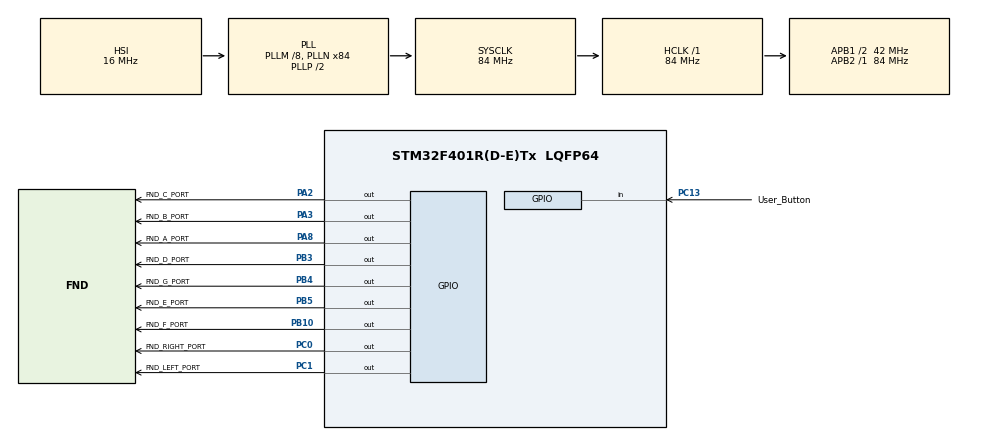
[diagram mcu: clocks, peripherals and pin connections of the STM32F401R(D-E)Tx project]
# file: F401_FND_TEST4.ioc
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Mcu.Family=STM32F4
Mcu.Name=STM32F401R(D-E)Tx
Mcu.Package=LQFP64
NVIC.PriorityGroup=NVIC_PRIORITYGROUP_4
PA13.Mode=Serial_Wire
PA13.Signal=SYS_JTMS-SWDIO
PA14.Mode=Serial_Wire
PA14.Signal=SYS_JTCK-SWCLK
PA2.GPIO_Label=FND_C_PORT
PA2.PinState=GPIO_PIN_SET
PA2.Signal=GPIO_Output
PA3.GPIO_Label=FND_B_PORT
PA3.PinState=GPIO_PIN_SET
PA3.Signal=GPIO_Output
PA8.GPIO_Label=FND_A_PORT
PA8.PinState=GPIO_PIN_SET
PA8.Signal=GPIO_Output
PB10.GPIO_Label=FND_F_PORT
PB10.PinState=GPIO_PIN_SET
PB10.Signal=GPIO_Output
PB3.GPIO_Label=FND_D_PORT
PB3.PinState=GPIO_PIN_SET
PB3.Signal=GPIO_Output
PB4.GPIO_Label=FND_G_PORT
PB4.PinState=GPIO_PIN_SET
PB4.Signal=GPIO_Output
PB5.GPIO_Label=FND_E_PORT
PB5.PinState=GPIO_PIN_SET
PB5.Signal=GPIO_Output
PC0.GPIO_Label=FND_RIGHT_PORT
PC0.Signal=GPIO_Output
PC1.GPIO_Label=FND_LEFT_PORT
PC1.Signal=GPIO_Output
PC13-ANTI_TAMP.GPIO_Label=User_Button
PC13-ANTI_TAMP.Signal=GPIO_Input
ProjectManager.HeapSize=0x200
ProjectManager.StackSize=0x400
ProjectManager.TargetToolchain=STM32CubeIDE
RCC.48MHZClocksFreq_Value=42000000
RCC.AHBFreq_Value=84000000
RCC.APB1CLKDivider=RCC_HCLK_DIV2
RCC.APB1Freq_Value=42000000
RCC.APB1TimFreq_Value=84000000
RCC.APB2Freq_Value=84000000
RCC.APB2TimFreq_Value=84000000
RCC.CortexFreq_Value=84000000
RCC.HCLKFreq_Value=84000000
RCC.HSE_VALUE=25000000
RCC.HSI_VALUE=16000000
RCC.LSE_VALUE=32768
RCC.PLLM=8
RCC.PLLN=84
RCC.SYSCLKFreq_VALUE=84000000
RCC.SYSCLKSource=RCC_SYSCLKSOURCE_PLLCLK
RCC.VCOOutputFreq_Value=168000000
board=custom

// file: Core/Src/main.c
/* USER CODE BEGIN Header */
/**
  ******************************************************************************
  * @file           : main.c
  * @brief          : Main program body
  ******************************************************************************
  * @attention
  *
  * <h2><center>&copy; Copyright (c) 2021 STMicroelectronics.
  * All rights reserved.</center></h2>
  *
  * This software component is licensed by ST under BSD 3-Clause license,
  * the "License"; You may not use this file except in compliance with the
  * License. You may obtain a copy of the License at:
  *                        opensource.org/licenses/BSD-3-Clause
  *
  ******************************************************************************
  */
/* USER CODE END Header */
#include "main.h"

void SystemClock_Config(void);
static void MX_GPIO_Init(void);

/* USER CODE BEGIN 0 */
#define HIGH	1
#define LOW		0
#define PRSEE	0
#define TAKE_IT_OFF		1
#define MAX_COUNT	80
#define MIN_COUNT 	1
#define COUNT		Button_Count

#define	FND_COM_LEFT_SET		HAL_GPIO_WritePin(GPIOC, FND_RIGHT_PORT_Pin, GPIO_PIN_RESET); \
								HAL_GPIO_WritePin(GPIOC, FND_LEFT_PORT_Pin, GPIO_PIN_SET);

#define	FND_COM_RIGHT_SET		HAL_GPIO_WritePin(GPIOC, FND_LEFT_PORT_Pin, GPIO_PIN_RESET); \
								HAL_GPIO_WritePin(GPIOC, FND_RIGHT_PORT_Pin, GPIO_PIN_SET);

#define FND_SEG_NUM0_DISP	  {HAL_GPIO_WritePin(GPIOA, FND_C_PORT_Pin|FND_B_PORT_Pin|FND_A_PORT_Pin, GPIO_PIN_RESET); \
						      HAL_GPIO_WritePin(GPIOB, FND_F_PORT_Pin|FND_D_PORT_Pin|FND_E_PORT_Pin, GPIO_PIN_RESET); \
							  HAL_GPIO_WritePin(GPIOB, FND_G_PORT_Pin, GPIO_PIN_SET);}

#define FND_SEG_NUM1_DISP	  {HAL_GPIO_WritePin(GPIOA, FND_B_PORT_Pin|FND_C_PORT_Pin, GPIO_PIN_RESET); \
							  HAL_GPIO_WritePin(GPIOA, FND_A_PORT_Pin, GPIO_PIN_SET); \
							  HAL_GPIO_WritePin(GPIOB, FND_F_PORT_Pin|FND_D_PORT_Pin|FND_G_PORT_Pin|FND_E_PORT_Pin, GPIO_PIN_SET);}

#define FND_SEG_NUM2_DISP	  {HAL_GPIO_WritePin(GPIOA, FND_B_PORT_Pin|FND_A_PORT_Pin, GPIO_PIN_RESET); \
						      HAL_GPIO_WritePin(GPIOB, FND_D_PORT_Pin|FND_G_PORT_Pin|FND_E_PORT_Pin, GPIO_PIN_RESET); \
						      HAL_GPIO_WritePin(GPIOA, FND_C_PORT_Pin, GPIO_PIN_SET); \
						      HAL_GPIO_WritePin(GPIOB, FND_F_PORT_Pin, GPIO_PIN_SET);}

#define FND_SEG_NUM3_DISP	  {HAL_GPIO_WritePin(GPIOA, FND_C_PORT_Pin|FND_B_PORT_Pin|FND_A_PORT_Pin, GPIO_PIN_RESET); \
						      HAL_GPIO_WritePin(GPIOB, FND_D_PORT_Pin|FND_G_PORT_Pin, GPIO_PIN_RESET); \
						      HAL_GPIO_WritePin(GPIOB, FND_F_PORT_Pin|FND_E_PORT_Pin, GPIO_PIN_SET);}

#define FND_SEG_NUM4_DISP	  {HAL_GPIO_WritePin(GPIOA, FND_C_PORT_Pin|FND_B_PORT_Pin, GPIO_PIN_RESET); \
						      HAL_GPIO_WritePin(GPIOB, FND_F_PORT_Pin|FND_G_PORT_Pin, GPIO_PIN_RESET); \
						      HAL_GPIO_WritePin(GPIOA, FND_A_PORT_Pin, GPIO_PIN_SET); \
						      HAL_GPIO_WritePin(GPIOB, FND_E_PORT_Pin|FND_D_PORT_Pin, GPIO_PIN_SET);}

#define FND_SEG_NUM5_DISP	  {HAL_GPIO_WritePin(GPIOA, FND_C_PORT_Pin|FND_A_PORT_Pin, GPIO_PIN_RESET); \
						      HAL_GPIO_WritePin(GPIOB, FND_F_PORT_Pin|FND_D_PORT_Pin|FND_G_PORT_Pin, GPIO_PIN_RESET); \
						      HAL_GPIO_WritePin(GPIOB, FND_E_PORT_Pin, GPIO_PIN_SET); \
						      HAL_GPIO_WritePin(GPIOA, FND_B_PORT_Pin, GPIO_PIN_SET);}

#define FND_SEG_NUM6_DISP	  {HAL_GPIO_WritePin(GPIOA, FND_C_PORT_Pin|FND_A_PORT_Pin, GPIO_PIN_RESET); \
						      HAL_GPIO_WritePin(GPIOB, FND_F_PORT_Pin|FND_D_PORT_Pin|FND_G_PORT_Pin|FND_E_PORT_Pin, GPIO_PIN_RESET); \
						      HAL_GPIO_WritePin(GPIOA, FND_B_PORT_Pin, GPIO_PIN_SET);}

#define FND_SEG_NUM7_DISP	  {HAL_GPIO_WritePin(GPIOA, FND_C_PORT_Pin|FND_B_PORT_Pin|FND_A_PORT_Pin, GPIO_PIN_RESET); \
						      HAL_GPIO_WritePin(GPIOB, FND_F_PORT_Pin, GPIO_PIN_RESET); \
						      HAL_GPIO_WritePin(GPIOB, FND_D_PORT_Pin|FND_G_PORT_Pin|FND_E_PORT_Pin, GPIO_PIN_SET); }

#define FND_SEG_NUM8_DISP	  {HAL_GPIO_WritePin(GPIOA, FND_C_PORT_Pin|FND_B_PORT_Pin|FND_A_PORT_Pin, GPIO_PIN_RESET); \
						      HAL_GPIO_WritePin(GPIOB, FND_F_PORT_Pin|FND_D_PORT_Pin|FND_G_PORT_Pin|FND_E_PORT_Pin, GPIO_PIN_RESET);}

#define FND_SEG_NUM9_DISP	  {HAL_GPIO_WritePin(GPIOA, FND_C_PORT_Pin|FND_B_PORT_Pin|FND_A_PORT_Pin, GPIO_PIN_RESET); \
						      HAL_GPIO_WritePin(GPIOB, FND_F_PORT_Pin|FND_G_PORT_Pin|FND_D_PORT_Pin, GPIO_PIN_RESET); \
						      HAL_GPIO_WritePin(GPIOB, FND_E_PORT_Pin, GPIO_PIN_SET);}

void FND_SEG_CTRL(unsigned char Disp_Seg_Num)   				 /* 반환값이 없는 void 형에 FND_SEG_CTRL 라는 함수 명에 () 안에
 	 	 	 	 	 	 	 	 	 	 	 	 	 	 	 	 	 unsigned char 형 disp_seg_num 라는 매개변수를 넣어 함수 선언 및 정의*/
{
	switch(Disp_Seg_Num)										// switch 구문 () 안에 disp_seg_num 변수를 넣음.
	{
	case 0:														// case 0 일 때
		FND_SEG_NUM0_DISP										// FND_SEG_NUM0_DISP 매크로 호출.
		break;													// 스탑.
	case 1:														// case 1 일 때
		FND_SEG_NUM1_DISP										// FND_SEG_NUM1_DISP 매크로 호출.
		break;													// 스탑.
	case 2:														// case 2 일 때
		FND_SEG_NUM2_DISP										// FND_SEG_NUM2_DISP 매크로 호출.
		break;													// 스탑.
	case 3:														// case 3 일 때
		FND_SEG_NUM3_DISP										// FND_SEG_NUM3_DISP 매크로 호출.
		break;													// 스탑.
	case 4:														// case 4 일 때
		FND_SEG_NUM4_DISP										// FND_SEG_NUM4_DISP 매크로 호출.
		break;													// 스탑.
	case 5:														// case 5 일 때
		FND_SEG_NUM5_DISP										// FND_SEG_NUM5_DISP 매크로 호출.
		break;													// 스탑.
	case 6:														// case 6 일 때
		FND_SEG_NUM6_DISP										// FND_SEG_NUM6_DISP 매크로 호출.
		break;													// 스탑.
	case 7:														// case 7 일 때
		FND_SEG_NUM7_DISP										// FND_SEG_NUM7_DISP 매크로 호출.
		break;													// 스탑.
	case 8:														// case 8 일 때
		FND_SEG_NUM8_DISP										// FND_SEG_NUM8_DISP 매크로 호출.
		break;													// 스탑.
	case 9:														// case 9 일 때
		FND_SEG_NUM9_DISP										// FND_SEG_NUM0_DISP 매크로 호출.
		break;													// 스탑.
	}
}

void FND_Display(unsigned char Disp_Num)						/* 반환값이 없는 void 형 FND_Display()라는 함수에
																   unsigned char disp_num 라는 매개변수를 넣어 함수를 선언 및 정의*/
{
	unsigned char Disp10 = 0;									// unsigned char 형 disp10 이라는 변수에 0 값을 넣어 초기화
	unsigned char Disp1 = 0;									// unsigned char 형 disp1 이라는 변수에 0 값을 넣어 초기화

	Disp10 = Disp_Num/10;										// disp_num 을 10을 나눈 값을 disp10 라는 변수에 대입
	Disp1 = Disp_Num%10;										// disp_num 을 10을 나눈 값을 disp1 라는 변수에 대입

	FND_COM_RIGHT_SET											// 왼쪽FND 는 끄고 오른쪽 FND는 킨다.
	FND_SEG_CTRL(Disp1);										// FND_SEG_CTRL() 함수에 ()안에 disp1 이라는 변수를 넣어서 호출.
	HAL_Delay(0.1);												// Delay() 0.1ms 줌.

	FND_COM_LEFT_SET											// 오른쪽FND 는 끄고 왼쪽 FND는 킨다.
	FND_SEG_CTRL(Disp10);										// FND_SEG_CTRL() 함수에 ()안에 disp10 이라는 변수를 넣어서 호출.
	HAL_Delay(0.1);												// Delay() 0.1ms 줌.
}
static unsigned char Button_Count = 0;
void FND_Table()							/* 반환값이 없는 void 형 FND_Table()라는 함수에
  	  	  	  	  	  	  	  	  	  	  	  	  	  	  	  	  unsigned char fnd_count 라는 매개변수를 넣어 함수를 선언 및 정의를 하고 main 함수에서 호출한 것이 들어옴. */
{
	static unsigned char Mull = 2;  									// unsgined char 형 Mull 이라는 변수에 2 라는 값을 초기화
	unsigned char Fnd_Count = 0;
																// unsigned char 형 Fnd_number 이라는 변수에 0이라는 값을 초기화
	Mull += COUNT / 10;										// Mull = Mull + (fnd_count / 10) 으로 대입
	if(Mull == 10)
	{
		Mull = 2;
	}

	if(COUNT == 80)
	{
		COUNT = 1;
	}

	Fnd_Count = Mull*COUNT;								// Mull 과 fnd_count 가 곱한 값이 Fnd_number라는 변수에 대입
    FND_Display(Fnd_Count);									// FND_Display()라는 함수에 Fnd_number 값을 넣어 호출
}
/* USER CODE END 0 */

int main(void)
{
  /* USER CODE BEGIN 1 */
	unsigned char Push_Button = 0;								// unsigned char 형 button_max_count 라는 변수에 0 값을 넣어 초기화
	unsigned char Button_Count = 0;								// usnigned char 형 button_count 라는 변수에 0 값을 넣어 초기화
  /* USER CODE END 1 */

  /* MCU Configuration--------------------------------------------------------*/

  /* Reset of all peripherals, Initializes the Flash interface and the Systick. */
  HAL_Init();

  /* Configure the system clock */
  SystemClock_Config();

  /* Initialize all configured peripherals */
  MX_GPIO_Init();

  /* Infinite loop */
  while (1)
  {

    /* USER CODE BEGIN 3 */

	  //구구단 프로그래밍  버튼을 누를 때 마다 구구단 출력 2단부터 9단까지.
      if(HAL_GPIO_ReadPin(GPIOC, GPIO_PIN_13)==PRSEE)    						// 만약 버튼을 누른다면 button_max_count 값은 1이 되고
	  {
		  Push_Button = HIGH;
	  }

	  else if(HAL_GPIO_ReadPin(GPIOC, GPIO_PIN_13)==TAKE_IT_OFF)				// 만약 버튼을 누르지 않았으면
	  {
		  if(Push_Button == HIGH)														// 누르지 않은 상태에서 button_max_count 값이 1이라면
		  {
			  COUNT++;
		  }
		  Push_Button = LOW;													// buttn_max_button 값은 0이 된다.
	  }
     FND_Table(COUNT);
     													// 함수 FND_Table() 괄호 안에 button_count 변수를 넣어 호출.
  }

  /* USER CODE END 3 */
}

void SystemClock_Config(void)
{
  RCC_OscInitTypeDef RCC_OscInitStruct = {0};
  RCC_ClkInitTypeDef RCC_ClkInitStruct = {0};

  /** Configure the main internal regulator output voltage
  */
  __HAL_RCC_PWR_CLK_ENABLE();
  __HAL_PWR_VOLTAGESCALING_CONFIG(PWR_REGULATOR_VOLTAGE_SCALE2);
  /** Initializes the RCC Oscillators according to the specified parameters
  * in the RCC_OscInitTypeDef structure.
  */
  RCC_OscInitStruct.OscillatorType = RCC_OSCILLATORTYPE_HSI;
  RCC_OscInitStruct.HSIState = RCC_HSI_ON;
  RCC_OscInitStruct.HSICalibrationValue = RCC_HSICALIBRATION_DEFAULT;
  RCC_OscInitStruct.PLL.PLLState = RCC_PLL_ON;
  RCC_OscInitStruct.PLL.PLLSource = RCC_PLLSOURCE_HSI;
  RCC_OscInitStruct.PLL.PLLM = 8;
  RCC_OscInitStruct.PLL.PLLN = 84;
  RCC_OscInitStruct.PLL.PLLP = RCC_PLLP_DIV2;
  RCC_OscInitStruct.PLL.PLLQ = 4;
  if (HAL_RCC_OscConfig(&RCC_OscInitStruct) != HAL_OK)
  {
    Error_Handler();
  }
  /** Initializes the CPU, AHB and APB buses clocks
  */
  RCC_ClkInitStruct.ClockType = RCC_CLOCKTYPE_HCLK|RCC_CLOCKTYPE_SYSCLK
                              |RCC_CLOCKTYPE_PCLK1|RCC_CLOCKTYPE_PCLK2;
  RCC_ClkInitStruct.SYSCLKSource = RCC_SYSCLKSOURCE_PLLCLK;
  RCC_ClkInitStruct.AHBCLKDivider = RCC_SYSCLK_DIV1;
  RCC_ClkInitStruct.APB1CLKDivider = RCC_HCLK_DIV2;
  RCC_ClkInitStruct.APB2CLKDivider = RCC_HCLK_DIV1;

  if (HAL_RCC_ClockConfig(&RCC_ClkInitStruct, FLASH_LATENCY_2) != HAL_OK)
  {
    Error_Handler();
  }
}

static void MX_GPIO_Init(void)
{
  GPIO_InitTypeDef GPIO_InitStruct = {0};

  /* GPIO Ports Clock Enable */
  __HAL_RCC_GPIOC_CLK_ENABLE();
  __HAL_RCC_GPIOA_CLK_ENABLE();
  __HAL_RCC_GPIOB_CLK_ENABLE();

  /*Configure GPIO pin Output Level */
  HAL_GPIO_WritePin(GPIOC, FND_RIGHT_PORT_Pin|FND_LEFT_PORT_Pin, GPIO_PIN_RESET);

  /*Configure GPIO pin Output Level */
  HAL_GPIO_WritePin(GPIOA, FND_C_PORT_Pin|FND_B_PORT_Pin|FND_A_PORT_Pin, GPIO_PIN_SET);

  /*Configure GPIO pin Output Level */
  HAL_GPIO_WritePin(GPIOB, FND_F_PORT_Pin|FND_D_PORT_Pin|FND_G_PORT_Pin|FND_E_PORT_Pin, GPIO_PIN_SET);

  /*Configure GPIO pin : User_Button_Pin */
  GPIO_InitStruct.Pin = User_Button_Pin;
  GPIO_InitStruct.Mode = GPIO_MODE_INPUT;
  GPIO_InitStruct.Pull = GPIO_NOPULL;
  HAL_GPIO_Init(User_Button_GPIO_Port, &GPIO_InitStruct);

  /*Configure GPIO pins : FND_RIGHT_PORT_Pin FND_LEFT_PORT_Pin */
  GPIO_InitStruct.Pin = FND_RIGHT_PORT_Pin|FND_LEFT_PORT_Pin;
  GPIO_InitStruct.Mode = GPIO_MODE_OUTPUT_PP;
  GPIO_InitStruct.Pull = GPIO_NOPULL;
  GPIO_InitStruct.Speed = GPIO_SPEED_FREQ_LOW;
  HAL_GPIO_Init(GPIOC, &GPIO_InitStruct);

  /*Configure GPIO pins : FND_C_PORT_Pin FND_B_PORT_Pin FND_A_PORT_Pin */
  GPIO_InitStruct.Pin = FND_C_PORT_Pin|FND_B_PORT_Pin|FND_A_PORT_Pin;
  GPIO_InitStruct.Mode = GPIO_MODE_OUTPUT_PP;
  GPIO_InitStruct.Pull = GPIO_NOPULL;
  GPIO_InitStruct.Speed = GPIO_SPEED_FREQ_LOW;
  HAL_GPIO_Init(GPIOA, &GPIO_InitStruct);

  /*Configure GPIO pins : FND_F_PORT_Pin FND_D_PORT_Pin FND_G_PORT_Pin FND_E_PORT_Pin */
  GPIO_InitStruct.Pin = FND_F_PORT_Pin|FND_D_PORT_Pin|FND_G_PORT_Pin|FND_E_PORT_Pin;
  GPIO_InitStruct.Mode = GPIO_MODE_OUTPUT_PP;
  GPIO_InitStruct.Pull = GPIO_NOPULL;
  GPIO_InitStruct.Speed = GPIO_SPEED_FREQ_LOW;
  HAL_GPIO_Init(GPIOB, &GPIO_InitStruct);

}

void Error_Handler(void)
{
  __disable_irq();
  while (1)
  {
  }
}

/************************ (C) COPYRIGHT STMicroelectronics *****END OF FILE****/
